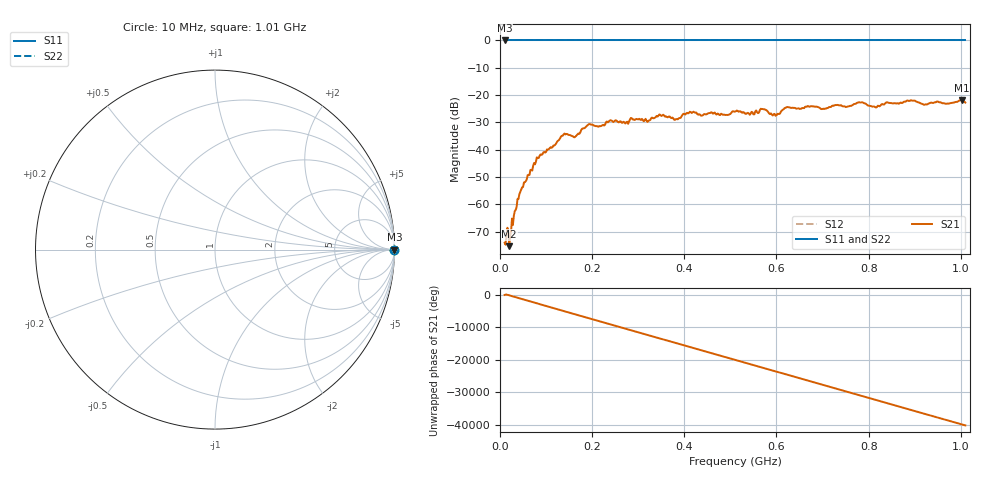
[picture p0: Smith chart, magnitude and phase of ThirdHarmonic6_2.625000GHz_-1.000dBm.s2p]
! 8/17/2025 5:50:08 AM
! C:\ANRITSUVNA\TEMP\TEMP.S2P
! CHANNEL.1
! TR.MEASUREMENT
! RAW.DATA
! RF.CORRECTION.OFF
! AVERAGING.OFF
! IF.BANDWIDTH: 5KHZ
! SWEEPTYPE:  FREQ.SWEEP(Linear)
! Reference Plane Port Info
! PORT:  PORT1  PORT2
! DISTANCE:  0  m  0  m
! TIME:  0  s  0  s
! PHASE.OFFSET:  0  deg.  0  deg.
! LOSS:  0  dB  0  dB
! REF.LOSS:  0  dB  0  dB
! REF.FREQ:  0  Hz  0  Hz
! Power Info
! POWER:  -20  dBm  -20  dBm
! EFF.POWER:  -20  dBm  -20  dBm
! SOURCE.ATTEN:  0  dB  0  dB
! TEST.ATTEN:  0  dB  0  dB
# GHZ S RI R 50.0
! FREQ.GHZ  S11RE  S11IM  S21RE  S21IM  S12RE  S12IM  S22RE  S22IM
!; PortSelection: Port_12
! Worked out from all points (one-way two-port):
!   501 points, 10 MHz to 1.01 GHz, reference 50 ohm
!   highest |S21| = -21.86 dB at 1.002 GHz (marker M1); lowest = -75.4 dB at 20 MHz (marker M2)
!   lowest |S11| = 0.0 dB at 10 MHz (marker M3)
!   |S11| at or under -10 dB: nowhere
!   |S22| runs from 0.0 to 0.0 dB; largest |S21 - S12| = 1.1
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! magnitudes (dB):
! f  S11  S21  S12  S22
! 10 MHz  0.0  -74.1  0.0  0.0
! 20 MHz  0.0  -75.4  0.0  0.0
! 24 MHz  0.0  -70.1  0.0  0.0
! 42 MHz  0.0  -56.3  0.0  0.0
! 84 MHz  0.0  -43.0  0.0  0.0
! 136 MHz  0.0  -34.9  0.0  0.0
! 162 MHz  0.0  -35.5  0.0  0.0
! 178 MHz  0.0  -32.4  0.0  0.0
! 194 MHz  0.0  -30.6  0.0  0.0
! 322 MHz  0.0  -29.4  0.0  0.0
! 344 MHz  0.0  -27.5  0.0  0.0
! 382 MHz  0.0  -28.8  0.0  0.0
! 416 MHz  0.0  -26.6  0.0  0.0
! 510 MHz  0.0  -26.1  0.0  0.0
! 570 MHz  0.0  -25.1  0.0  0.0
! 596 MHz  0.0  -26.9  0.0  0.0
! 622 MHz  0.0  -24.5  0.0  0.0
! 678 MHz  0.0  -24.2  0.0  0.0
! 814 MHz  0.0  -24.4  0.0  0.0
! 844 MHz  0.0  -22.8  0.0  0.0
! 1.002 GHz  0.0  -21.9  0.0  0.0
! 1.01 GHz  0.0  -22.8  0.0  0.0
